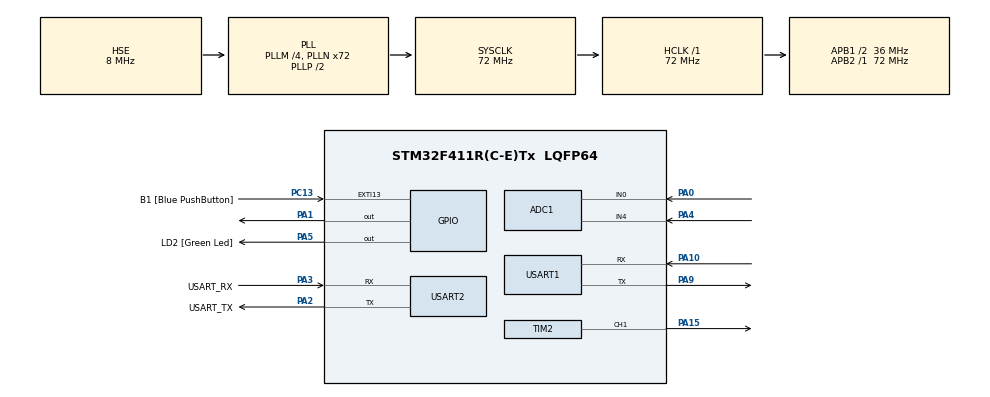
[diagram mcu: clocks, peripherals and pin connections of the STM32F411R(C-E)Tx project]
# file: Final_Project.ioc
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ADC1.Channel-0\#ChannelRegularConversion=ADC_CHANNEL_0
ADC1.Channel-1\#ChannelRegularConversion=ADC_CHANNEL_4
ADC1.ContinuousConvMode=ENABLE
ADC1.NbrOfConversion=2
ADC1.NbrOfConversionFlag=1
ADC1.Rank-0\#ChannelRegularConversion=1
ADC1.Rank-1\#ChannelRegularConversion=2
ADC1.SamplingTime-0\#ChannelRegularConversion=ADC_SAMPLETIME_3CYCLES
ADC1.SamplingTime-1\#ChannelRegularConversion=ADC_SAMPLETIME_3CYCLES
ADC1.ScanConvMode=ENABLE
ADC1.master=1
Mcu.Family=STM32F4
Mcu.Name=STM32F411R(C-E)Tx
Mcu.Package=LQFP64
NVIC.PriorityGroup=NVIC_PRIORITYGROUP_0
PA0-WKUP.Signal=ADCx_IN0
PA1.Signal=GPIO_Output
PA10.Mode=Asynchronous
PA10.Signal=USART1_RX
PA13.GPIO_Label=TMS
PA13.Mode=Serial_Wire
PA13.Signal=SYS_JTMS-SWDIO
PA14.GPIO_Label=TCK
PA14.Mode=Serial_Wire
PA14.Signal=SYS_JTCK-SWCLK
PA15.Signal=S_TIM2_CH1_ETR
PA2.GPIO_Label=USART_TX
PA2.Mode=Asynchronous
PA2.Signal=USART2_TX
PA3.GPIO_Label=USART_RX
PA3.Mode=Asynchronous
PA3.Signal=USART2_RX
PA4.Signal=ADCx_IN4
PA5.GPIO_Label=LD2 [Green Led]
PA5.Signal=GPIO_Output
PA9.Mode=Asynchronous
PA9.Signal=USART1_TX
PB3.GPIO_Label=SWO
PB3.Signal=SYS_JTDO-SWO
PC13-ANTI_TAMP.GPIO_Label=B1 [Blue PushButton]
PC13-ANTI_TAMP.GPIO_ModeDefaultEXTI=GPIO_MODE_IT_FALLING
PC13-ANTI_TAMP.Signal=GPXTI13
PC14-OSC32_IN.Signal=RCC_OSC32_IN
PC15-OSC32_OUT.Signal=RCC_OSC32_OUT
PH0\ -\ OSC_IN.Mode=HSE-External-Oscillator
PH0\ -\ OSC_IN.Signal=RCC_OSC_IN
PH1\ -\ OSC_OUT.Mode=HSE-External-Oscillator
PH1\ -\ OSC_OUT.Signal=RCC_OSC_OUT
ProjectManager.HeapSize=0x200
ProjectManager.StackSize=0x400
ProjectManager.TargetToolchain=STM32CubeIDE
RCC.48MHZClocksFreq_Value=36000000
RCC.AHBFreq_Value=72000000
RCC.APB1CLKDivider=RCC_HCLK_DIV2
RCC.APB1Freq_Value=36000000
RCC.APB1TimFreq_Value=72000000
RCC.APB2Freq_Value=72000000
RCC.APB2TimFreq_Value=72000000
RCC.CortexFreq_Value=72000000
RCC.FLatency-AdvancedSettings=FLASH_LATENCY_2
RCC.HCLKFreq_Value=72000000
RCC.HSE_VALUE=8000000
RCC.HSI_VALUE=16000000
RCC.PLLM=4
RCC.PLLN=72
RCC.PLLSourceVirtual=RCC_PLLSOURCE_HSE
RCC.SYSCLKFreq_VALUE=72000000
RCC.SYSCLKSource=RCC_SYSCLKSOURCE_PLLCLK
RCC.VCOOutputFreq_Value=144000000
SH.ADCx_IN0.0=ADC1_IN0,IN0
SH.ADCx_IN4.0=ADC1_IN4,IN4
SH.S_TIM2_CH1_ETR.0=TIM2_CH1,PWM Generation1 CH1
TIM2.Channel-PWM\ Generation1\ CH1=TIM_CHANNEL_1
TIM2.Prescaler=71
USART1.VirtualMode=VM_ASYNC
USART2.VirtualMode=VM_ASYNC
VP_TIM2_VS_ClockSourceINT.Mode=Internal
board=NUCLEO-F411RE

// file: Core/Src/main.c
/* USER CODE BEGIN Header */
/**
  ******************************************************************************
  * @file           : main.c
  * @brief          : Main program body
  ******************************************************************************
  * @attention
  *
  * <h2><center>&copy; Copyright (c) 2020 STMicroelectronics.
  * All rights reserved.</center></h2>
  *
  * This software component is licensed by ST under BSD 3-Clause license,
  * the "License"; You may not use this file except in compliance with the
  * License. You may obtain a copy of the License at:
  *                        opensource.org/licenses/BSD-3-Clause
  *
  ******************************************************************************
  */
/* USER CODE END Header */
#include "main.h"

/* USER CODE BEGIN Includes */

#include "stdio.h"
/* USER CODE END Includes */

ADC_HandleTypeDef hadc1;

TIM_HandleTypeDef htim2;

UART_HandleTypeDef huart1;
UART_HandleTypeDef huart2;

void SystemClock_Config(void);
static void MX_GPIO_Init(void);
static void MX_USART2_UART_Init(void);
static void MX_TIM2_Init(void);
static void MX_ADC1_Init(void);
static void MX_USART1_UART_Init(void);

/* USER CODE BEGIN 0 */
void ADC_Select_CH0 (void)
{
	ADC_ChannelConfTypeDef sConfig = {0};
	  /** Configure for the selected ADC regular channel its corresponding rank in the sequencer and its sample time.
	  */
	  sConfig.Channel = ADC_CHANNEL_0;
	  sConfig.Rank = 1;
	  sConfig.SamplingTime = ADC_SAMPLETIME_3CYCLES;
	  if (HAL_ADC_ConfigChannel(&hadc1, &sConfig) != HAL_OK)
	  {
	    Error_Handler();
	  }
}

void ADC_Select_CH4 (void)
{
	ADC_ChannelConfTypeDef sConfig = {0};
	  /** Configure for the selected ADC regular channel its corresponding rank in the sequencer and its sample time.
	  */
	  sConfig.Channel = ADC_CHANNEL_4;
	  sConfig.Rank = 1;
	  sConfig.SamplingTime = ADC_SAMPLETIME_3CYCLES;
	  if (HAL_ADC_ConfigChannel(&hadc1, &sConfig) != HAL_OK)
	  {
	    Error_Handler();
	  }
}
void microDelay (uint16_t delay)
{
  __HAL_TIM_SET_COUNTER(&htim2, 0);
  while (__HAL_TIM_GET_COUNTER(&htim2) < delay);
}

#define DHT11_PORT GPIOA
#define DHT11_PIN GPIO_PIN_1
uint8_t RHI, RHD, TCI, TCD, SUM;
uint32_t pMillis, cMillis;
float tCelsius = 0;
float tFahrenheit = 0;
float RH = 0;
uint32_t samplingTime = 280;
float voMeasured = 0;
float calcVoltage = 0;
float dustDensity = 0;
float lux = 0;
char text[1000] = {0};
/*********************************** DHT11 FUNCTIONS ********************************************/

uint8_t DHT11_Start (void)
{
  uint8_t Response = 0;
  GPIO_InitTypeDef GPIO_InitStructPrivate = {0};
  GPIO_InitStructPrivate.Pin = DHT11_PIN;
  GPIO_InitStructPrivate.Mode = GPIO_MODE_OUTPUT_PP;
  GPIO_InitStructPrivate.Speed = GPIO_SPEED_FREQ_LOW;
  GPIO_InitStructPrivate.Pull = GPIO_NOPULL;
  HAL_GPIO_Init(DHT11_PORT, &GPIO_InitStructPrivate); // set the pin as output
  HAL_GPIO_WritePin (DHT11_PORT, DHT11_PIN, 0);   // pull the pin low
  HAL_Delay(20);   // wait for 20ms
  HAL_GPIO_WritePin (DHT11_PORT, DHT11_PIN, 1);   // pull the pin high
  microDelay (30);   // wait for 30us
  GPIO_InitStructPrivate.Mode = GPIO_MODE_INPUT;
  GPIO_InitStructPrivate.Pull = GPIO_PULLUP;
  HAL_GPIO_Init(DHT11_PORT, &GPIO_InitStructPrivate); // set the pin as input
  microDelay (40);
  if (!(HAL_GPIO_ReadPin (DHT11_PORT, DHT11_PIN)))
  {
    microDelay (80);
    if ((HAL_GPIO_ReadPin (DHT11_PORT, DHT11_PIN))) Response = 1;
  }
  pMillis = HAL_GetTick();
  cMillis = HAL_GetTick();
  while ((HAL_GPIO_ReadPin (DHT11_PORT, DHT11_PIN)) && pMillis + 2 > cMillis)
  {
    cMillis = HAL_GetTick();
  }
  return Response;
}

uint8_t DHT11_Read (void)
{
  uint8_t a,b;
  for (a=0;a<8;a++)
  {
    pMillis = HAL_GetTick();
    cMillis = HAL_GetTick();
    while (!(HAL_GPIO_ReadPin (DHT11_PORT, DHT11_PIN)) && pMillis + 2 > cMillis)
    {  // wait for the pin to go high
      cMillis = HAL_GetTick();
    }
    microDelay (40);   // wait for 40 us
    if (!(HAL_GPIO_ReadPin (DHT11_PORT, DHT11_PIN)))   // if the pin is low
      b&= ~(1<<(7-a));
    else
      b|= (1<<(7-a));
    pMillis = HAL_GetTick();
    cMillis = HAL_GetTick();
    while ((HAL_GPIO_ReadPin (DHT11_PORT, DHT11_PIN)) && pMillis + 2 > cMillis)
    {  // wait for the pin to go low
      cMillis = HAL_GetTick();
    }
  }
  return b;
}
void Display (float x, int path)
{
	char str[20] = {0};
	switch (path) {
	case 0:
		sprintf (str, "dust:- %.2f\r\n ", x);
		break;
	case 1:
		sprintf (str, "temp:- %.2f\r\n ", x);
		break;
	case 2:
		sprintf (str, "humid:- %.2f\r\n ", x);
		break;
	default:
		sprintf (str, "lux:- %.2f\r\n ", x);
		break;
	}
	HAL_UART_Transmit(&huart2, &str, 20, 100);
}
/* USER CODE END 0 */

int main(void)
{

  /* MCU Configuration--------------------------------------------------------*/

  /* Reset of all peripherals, Initializes the Flash interface and the Systick. */
  HAL_Init();

  /* Configure the system clock */
  SystemClock_Config();

  /* Initialize all configured peripherals */
  MX_GPIO_Init();
  MX_USART2_UART_Init();
  MX_TIM2_Init();
  MX_ADC1_Init();
  MX_USART1_UART_Init();
  /* USER CODE BEGIN 2 */
  HAL_TIM_Base_Start(&htim2);
//  lcd_init();
//  lcd_send_string("INITIALISING>>>>");
//  HAL_Delay(2000);
//  lcd_clear ();

  /* USER CODE END 2 */

  /* Infinite loop */
  /* USER CODE BEGIN WHILE */
  while (1)
   {
     if(DHT11_Start())
     {
       RHI = DHT11_Read(); // Relative humidity integral
       RHD = DHT11_Read(); // Relative humidity decimal
       TCI = DHT11_Read(); // Celsius integral
       TCD = DHT11_Read(); // Celsius decimal
       SUM = DHT11_Read(); // Check sum
     }
	  //Dust
	  ADC_Select_CH0();
	  HAL_ADC_Start(&hadc1);
	  HAL_ADC_PollForConversion(&hadc1, HAL_MAX_DELAY);
	  voMeasured = HAL_ADC_GetValue(&hadc1);
	  HAL_ADC_Stop(&hadc1);

	  calcVoltage = voMeasured * (5.0f / 4096.0f);
	  dustDensity = 170 * calcVoltage - 0.1;
	  //End Dust

	  //Lux
	  ADC_Select_CH4();
	  HAL_ADC_ConfigChannel(&hadc1, ADC_CHANNEL_4);
	  HAL_ADC_Start(&hadc1);
	  HAL_ADC_PollForConversion(&hadc1, HAL_MAX_DELAY);
	  lux = HAL_ADC_GetValue(&hadc1);
	  HAL_ADC_Stop(&hadc1);
	  //End LUX

	  // Use "Display(x, path)" to transmit the data, x is float and path is the type of data
	  // use path = 0 for dust, path = 1 for temp, path = 2 for humid, path = 3 for lux

	  Display(dustDensity, 0);
	  Display(TCI, 1);
	  Display(RHI, 2);
	  Display(lux, 3);
	  int len = sprintf(text,"%.2f %d %d %.2f\n",dustDensity,TCI,RHI,lux);
	  HAL_UART_Transmit(&huart1, text, len, HAL_MAX_DELAY);
	  HAL_Delay(1000);
    /* USER CODE END WHILE */

  }
}

void SystemClock_Config(void)
{
  RCC_OscInitTypeDef RCC_OscInitStruct = {0};
  RCC_ClkInitTypeDef RCC_ClkInitStruct = {0};

  /** Configure the main internal regulator output voltage
  */
  __HAL_RCC_PWR_CLK_ENABLE();
  __HAL_PWR_VOLTAGESCALING_CONFIG(PWR_REGULATOR_VOLTAGE_SCALE1);

  /** Initializes the RCC Oscillators according to the specified parameters
  * in the RCC_OscInitTypeDef structure.
  */
  RCC_OscInitStruct.OscillatorType = RCC_OSCILLATORTYPE_HSE;
  RCC_OscInitStruct.HSEState = RCC_HSE_ON;
  RCC_OscInitStruct.PLL.PLLState = RCC_PLL_ON;
  RCC_OscInitStruct.PLL.PLLSource = RCC_PLLSOURCE_HSE;
  RCC_OscInitStruct.PLL.PLLM = 4;
  RCC_OscInitStruct.PLL.PLLN = 72;
  RCC_OscInitStruct.PLL.PLLP = RCC_PLLP_DIV2;
  RCC_OscInitStruct.PLL.PLLQ = 4;
  if (HAL_RCC_OscConfig(&RCC_OscInitStruct) != HAL_OK)
  {
    Error_Handler();
  }

  /** Initializes the CPU, AHB and APB buses clocks
  */
  RCC_ClkInitStruct.ClockType = RCC_CLOCKTYPE_HCLK|RCC_CLOCKTYPE_SYSCLK
                              |RCC_CLOCKTYPE_PCLK1|RCC_CLOCKTYPE_PCLK2;
  RCC_ClkInitStruct.SYSCLKSource = RCC_SYSCLKSOURCE_PLLCLK;
  RCC_ClkInitStruct.AHBCLKDivider = RCC_SYSCLK_DIV1;
  RCC_ClkInitStruct.APB1CLKDivider = RCC_HCLK_DIV2;
  RCC_ClkInitStruct.APB2CLKDivider = RCC_HCLK_DIV1;

  if (HAL_RCC_ClockConfig(&RCC_ClkInitStruct, FLASH_LATENCY_2) != HAL_OK)
  {
    Error_Handler();
  }
}

static void MX_ADC1_Init(void)
{

  ADC_ChannelConfTypeDef sConfig = {0};

  /** Configure the global features of the ADC (Clock, Resolution, Data Alignment and number of conversion)
  */
  hadc1.Instance = ADC1;
  hadc1.Init.ClockPrescaler = ADC_CLOCK_SYNC_PCLK_DIV2;
  hadc1.Init.Resolution = ADC_RESOLUTION_12B;
  hadc1.Init.ScanConvMode = ENABLE;
  hadc1.Init.ContinuousConvMode = ENABLE;
  hadc1.Init.DiscontinuousConvMode = DISABLE;
  hadc1.Init.ExternalTrigConvEdge = ADC_EXTERNALTRIGCONVEDGE_NONE;
  hadc1.Init.ExternalTrigConv = ADC_SOFTWARE_START;
  hadc1.Init.DataAlign = ADC_DATAALIGN_RIGHT;
  hadc1.Init.NbrOfConversion = 2;
  hadc1.Init.DMAContinuousRequests = DISABLE;
  hadc1.Init.EOCSelection = ADC_EOC_SINGLE_CONV;
  if (HAL_ADC_Init(&hadc1) != HAL_OK)
  {
    Error_Handler();
  }

  /** Configure for the selected ADC regular channel its corresponding rank in the sequencer and its sample time.
  */
  sConfig.Channel = ADC_CHANNEL_0;
  sConfig.Rank = 1;
  sConfig.SamplingTime = ADC_SAMPLETIME_3CYCLES;
  if (HAL_ADC_ConfigChannel(&hadc1, &sConfig) != HAL_OK)
  {
    Error_Handler();
  }

  /** Configure for the selected ADC regular channel its corresponding rank in the sequencer and its sample time.
  */
  sConfig.Channel = ADC_CHANNEL_4;
  sConfig.Rank = 2;
  if (HAL_ADC_ConfigChannel(&hadc1, &sConfig) != HAL_OK)
  {
    Error_Handler();
  }

}

static void MX_TIM2_Init(void)
{

  TIM_ClockConfigTypeDef sClockSourceConfig = {0};
  TIM_MasterConfigTypeDef sMasterConfig = {0};
  TIM_OC_InitTypeDef sConfigOC = {0};

  htim2.Instance = TIM2;
  htim2.Init.Prescaler = 71;
  htim2.Init.CounterMode = TIM_COUNTERMODE_UP;
  htim2.Init.Period = 4294967295;
  htim2.Init.ClockDivision = TIM_CLOCKDIVISION_DIV1;
  htim2.Init.AutoReloadPreload = TIM_AUTORELOAD_PRELOAD_DISABLE;
  if (HAL_TIM_Base_Init(&htim2) != HAL_OK)
  {
    Error_Handler();
  }
  sClockSourceConfig.ClockSource = TIM_CLOCKSOURCE_INTERNAL;
  if (HAL_TIM_ConfigClockSource(&htim2, &sClockSourceConfig) != HAL_OK)
  {
    Error_Handler();
  }
  if (HAL_TIM_PWM_Init(&htim2) != HAL_OK)
  {
    Error_Handler();
  }
  sMasterConfig.MasterOutputTrigger = TIM_TRGO_RESET;
  sMasterConfig.MasterSlaveMode = TIM_MASTERSLAVEMODE_DISABLE;
  if (HAL_TIMEx_MasterConfigSynchronization(&htim2, &sMasterConfig) != HAL_OK)
  {
    Error_Handler();
  }
  sConfigOC.OCMode = TIM_OCMODE_PWM1;
  sConfigOC.Pulse = 0;
  sConfigOC.OCPolarity = TIM_OCPOLARITY_HIGH;
  sConfigOC.OCFastMode = TIM_OCFAST_DISABLE;
  if (HAL_TIM_PWM_ConfigChannel(&htim2, &sConfigOC, TIM_CHANNEL_1) != HAL_OK)
  {
    Error_Handler();
  }
  HAL_TIM_MspPostInit(&htim2);

}

static void MX_USART1_UART_Init(void)
{

  huart1.Instance = USART1;
  huart1.Init.BaudRate = 9600;
  huart1.Init.WordLength = UART_WORDLENGTH_8B;
  huart1.Init.StopBits = UART_STOPBITS_1;
  huart1.Init.Parity = UART_PARITY_NONE;
  huart1.Init.Mode = UART_MODE_TX_RX;
  huart1.Init.HwFlowCtl = UART_HWCONTROL_NONE;
  huart1.Init.OverSampling = UART_OVERSAMPLING_16;
  if (HAL_UART_Init(&huart1) != HAL_OK)
  {
    Error_Handler();
  }

}

static void MX_USART2_UART_Init(void)
{

  huart2.Instance = USART2;
  huart2.Init.BaudRate = 115200;
  huart2.Init.WordLength = UART_WORDLENGTH_8B;
  huart2.Init.StopBits = UART_STOPBITS_1;
  huart2.Init.Parity = UART_PARITY_NONE;
  huart2.Init.Mode = UART_MODE_TX_RX;
  huart2.Init.HwFlowCtl = UART_HWCONTROL_NONE;
  huart2.Init.OverSampling = UART_OVERSAMPLING_16;
  if (HAL_UART_Init(&huart2) != HAL_OK)
  {
    Error_Handler();
  }

}

static void MX_GPIO_Init(void)
{
  GPIO_InitTypeDef GPIO_InitStruct = {0};

  /* GPIO Ports Clock Enable */
  __HAL_RCC_GPIOC_CLK_ENABLE();
  __HAL_RCC_GPIOH_CLK_ENABLE();
  __HAL_RCC_GPIOA_CLK_ENABLE();
  __HAL_RCC_GPIOB_CLK_ENABLE();

  /*Configure GPIO pin Output Level */
  HAL_GPIO_WritePin(GPIOA, GPIO_PIN_1|LD2_Pin, GPIO_PIN_RESET);

  /*Configure GPIO pin : B1_Pin */
  GPIO_InitStruct.Pin = B1_Pin;
  GPIO_InitStruct.Mode = GPIO_MODE_IT_FALLING;
  GPIO_InitStruct.Pull = GPIO_NOPULL;
  HAL_GPIO_Init(B1_GPIO_Port, &GPIO_InitStruct);

  /*Configure GPIO pins : PA1 LD2_Pin */
  GPIO_InitStruct.Pin = GPIO_PIN_1|LD2_Pin;
  GPIO_InitStruct.Mode = GPIO_MODE_OUTPUT_PP;
  GPIO_InitStruct.Pull = GPIO_NOPULL;
  GPIO_InitStruct.Speed = GPIO_SPEED_FREQ_LOW;
  HAL_GPIO_Init(GPIOA, &GPIO_InitStruct);

}

void Error_Handler(void)
{
}
